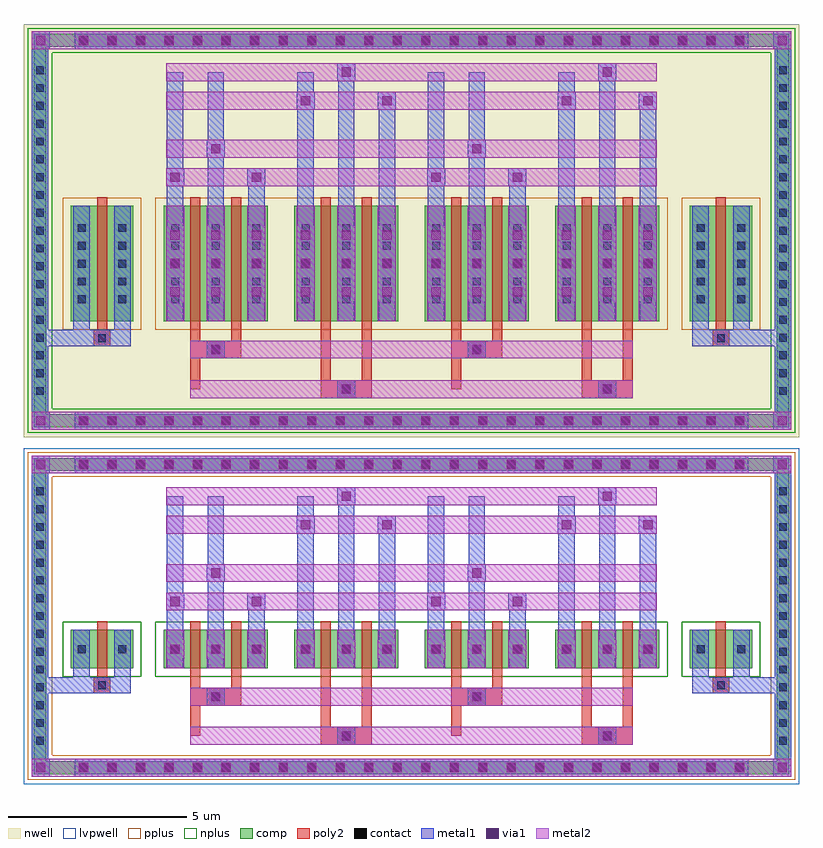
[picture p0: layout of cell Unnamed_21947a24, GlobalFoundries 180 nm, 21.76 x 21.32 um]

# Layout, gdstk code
import gdstk
lib = gdstk.Library(unit=1e-6, precision=5e-09)
def R(c, l, rs):  # rectangles x0, y0, x1, y1
    for r in rs: c.add(gdstk.rectangle(r[:2], r[2:], *l))
def A(c, l, x, y, w, h, nx, ny, dx, dy):  # array of equal rectangles
    R(c, l, [(x+i*dx, y+j*dy, x+i*dx+w, y+j*dy+h) for i in range(nx) for j in range(ny)])
def P(c, l, *ps):  # polygons
    for p in ps: c.add(gdstk.Polygon(p, *l))
nwell = (21, 0)
comp = (22, 0)
poly2 = (30, 0)
pplus = (31, 0)
nplus = (32, 0)
contact = (33, 0)
metal1 = (34, 0)
via1 = (35, 0)
metal2 = (36, 0)
lvpwell = (204, 0)

unnamed_41343e1b_1 = lib.new_cell('Unnamed_41343e1b$1')
A(unnamed_41343e1b_1, comp, -9.38, -5.515, 0.36, 0.36, 24, 2, 0.8, 10.67)
A(unnamed_41343e1b_1, comp, -10.6, -4.68, 0.36, 0.36, 1, 19, 0, 0.5)
A(unnamed_41343e1b_1, comp, 10.24, -4.68, 0.36, 0.36, 1, 19, 0, 0.5)
R(unnamed_41343e1b_1, comp, [(-9.38,-5.515,9.38,-5.155), (-10.6,-4.68,-10.24,4.68), (10.24,-4.68,10.6,4.68), (-9.38,5.155,9.38,5.515)])
P(unnamed_41343e1b_1, comp, [(-10.6,-5.515),(-10.6,-5.155),(-10.24,-5.155),(10.24,-5.155),(10.24,5.155),(-10.24,5.155),(-10.24,-5.155),(-10.6,-5.155),(-10.6,5.515),(10.6,5.515),(10.6,-5.515)])
P(unnamed_41343e1b_1, nplus, [(-10.76,-5.675),(-10.76,-4.995),(-10.08,-4.995),(10.08,-4.995),(10.08,4.995),(-10.08,4.995),(-10.08,-4.995),(-10.76,-4.995),(-10.76,5.675),(10.76,5.675),(10.76,-5.675)])
A(unnamed_41343e1b_1, contact, -9.31, -5.445, 0.22, 0.22, 24, 2, 0.8, 10.67)
A(unnamed_41343e1b_1, contact, -10.53, -4.61, 0.22, 0.22, 1, 19, 0, 0.5)
A(unnamed_41343e1b_1, contact, 10.31, -4.61, 0.22, 0.22, 1, 19, 0, 0.5)
A(unnamed_41343e1b_1, metal1, -9.45, -5.585, 0.5, 0.5, 24, 2, 0.8, 10.67)
A(unnamed_41343e1b_1, metal1, -10.65, -4.73, 0.46, 0.46, 1, 19, 0, 0.5)
A(unnamed_41343e1b_1, metal1, 10.19, -4.73, 0.46, 0.46, 1, 19, 0, 0.5)
R(unnamed_41343e1b_1, metal1, [(-10.65,-5.585,-10.15,-5.085), (-10.65,-5.585,-10.15,-5.085), (-10.65,-5.585,-10.19,-5.155), (-9.45,-5.585,9.45,-5.085), (10.15,-5.585,10.65,-5.085), (10.15,-5.585,10.65,-5.085), (10.19,-5.585,10.65,-5.155), (-10.65,-5.155,-10.19,5.155), (10.19,-5.155,10.65,5.155), (-10.65,5.085,-10.15,5.585), (-10.65,5.085,-10.15,5.585), (-9.45,5.085,9.45,5.585), (10.15,5.085,10.65,5.585), (10.15,5.085,10.65,5.585), (-10.65,5.155,-10.19,5.585), (10.19,5.155,10.65,5.585)])
A(unnamed_41343e1b_1, via1, -9.33, -5.465, 0.26, 0.26, 24, 2, 0.8, 10.67)
R(unnamed_41343e1b_1, via1, [(-10.53,-5.465,-10.27,-5.205), (10.27,-5.465,10.53,-5.205), (-10.53,5.205,-10.27,5.465), (10.27,5.205,10.53,5.465)])
A(unnamed_41343e1b_1, metal2, -9.45, -5.585, 0.5, 0.5, 24, 2, 0.8, 10.67)
R(unnamed_41343e1b_1, metal2, [(-10.65,-5.585,-10.24,-5.085), (-10.65,-5.585,-10.15,-5.085), (-10.65,-5.585,-10.15,-5.085), (-10.24,-5.585,10.24,-5.085), (10.15,-5.585,10.65,-5.085), (10.15,-5.585,10.65,-5.085), (10.24,-5.585,10.65,-5.085), (-10.65,5.085,-10.24,5.585), (-10.65,5.085,-10.15,5.585), (-10.65,5.085,-10.15,5.585), (-10.24,5.085,10.24,5.585), (10.15,5.085,10.65,5.585), (10.15,5.085,10.65,5.585), (10.24,5.085,10.65,5.585)])

straight_route_4423d41e = lib.new_cell('straight_route_4423d41e')
R(straight_route_4423d41e, metal1, [(-10.65,-3.245,-8.91,-2.785)])

straight_route_965612fa = lib.new_cell('straight_route_965612fa')
R(straight_route_965612fa, metal1, [(8.91,-3.245,10.65,-2.785)])

transformed_735538e2 = lib.new_cell('transformed_735538e2')
R(transformed_735538e2, nwell, [(-10.88,-5.795,10.88,5.795)])
A(transformed_735538e2, comp, -6.95, -2.545, 2.92, 3.24, 4, 1, 3.66, 0)
R(transformed_735538e2, comp, [(-9.55,-2.545,-7.81,0.695), (7.81,-2.545,9.55,0.695)])
R(transformed_735538e2, poly2, [(-2.54,-4.695,-1.12,-4.195), (4.78,-4.695,6.2,-4.195), (-2.01,-4.625,-1.65,-4.265), (5.31,-4.625,5.67,-4.265), (-6.2,-4.445,-5.92,-2.785), (1.12,-4.445,1.4,-2.785), (-2.54,-4.195,-2.26,-2.785), (-1.4,-4.195,-1.12,-2.785), (4.78,-4.195,5.06,-2.785), (5.92,-4.195,6.2,-2.785), (-6.2,-3.585,-4.78,-3.085), (1.12,-3.585,2.54,-3.085), (-5.67,-3.515,-5.31,-3.155), (1.65,-3.515,2.01,-3.155), (-8.91,-3.245,-8.45,-2.785), (8.45,-3.245,8.91,-2.785), (-8.86,-3.195,-8.5,-2.835), (8.5,-3.195,8.86,-2.835), (-6.2,-3.085,-5.92,-2.785), (-5.06,-3.085,-4.78,-2.785), (1.12,-3.085,1.4,-2.785), (2.26,-3.085,2.54,-2.785), (-8.82,-2.785,-8.54,0.935), (-6.2,-2.785,-5.92,0.935), (-5.06,-2.785,-4.78,0.935), (-2.54,-2.785,-2.26,0.935), (-1.4,-2.785,-1.12,0.935), (1.12,-2.785,1.4,0.935), (2.26,-2.785,2.54,0.935), (4.78,-2.785,5.06,0.935), (5.92,-2.785,6.2,0.935), (8.54,-2.785,8.82,0.935)])
A(transformed_735538e2, pplus, -7.18, -2.775, 3.38, 3.7, 4, 1, 3.66, 0)
R(transformed_735538e2, pplus, [(-9.78,-2.775,-7.58,0.925), (-7.18,-2.775,7.18,0.925), (7.58,-2.775,9.78,0.925)])
A(transformed_735538e2, contact, -9.36, -2.035, 0.22, 0.22, 1, 5, 0, 0.5)
A(transformed_735538e2, contact, -8.22, -2.035, 0.22, 0.22, 1, 5, 0, 0.5)
A(transformed_735538e2, contact, -6.74, -2.035, 0.22, 0.22, 3, 5, 1.14, 0.5)
A(transformed_735538e2, contact, -3.08, -2.035, 0.22, 0.22, 3, 5, 1.14, 0.5)
A(transformed_735538e2, contact, 0.58, -2.035, 0.22, 0.22, 3, 5, 1.14, 0.5)
A(transformed_735538e2, contact, 4.24, -2.035, 0.22, 0.22, 3, 5, 1.14, 0.5)
A(transformed_735538e2, contact, 8, -2.035, 0.22, 0.22, 1, 5, 0, 0.5)
A(transformed_735538e2, contact, 9.14, -2.035, 0.22, 0.22, 1, 5, 0, 0.5)
R(transformed_735538e2, contact, [(-1.94,-4.555,-1.72,-4.335), (5.38,-4.555,5.6,-4.335), (-5.6,-3.445,-5.38,-3.225), (1.72,-3.445,1.94,-3.225), (-8.79,-3.125,-8.57,-2.905), (8.57,-3.125,8.79,-2.905)])
A(transformed_735538e2, metal1, -6.86, -2.545, 0.46, 3.24, 3, 1, 1.14, 0)
A(transformed_735538e2, metal1, -3.2, -2.545, 0.46, 3.24, 3, 1, 1.14, 0)
A(transformed_735538e2, metal1, 0.46, -2.545, 0.46, 3.24, 3, 1, 1.14, 0)
A(transformed_735538e2, metal1, 4.12, -2.545, 0.46, 3.24, 3, 1, 1.14, 0)
A(transformed_735538e2, metal1, -9.48, -2.155, 0.46, 0.46, 1, 5, 0, 0.5)
A(transformed_735538e2, metal1, -8.34, -2.155, 0.46, 0.46, 1, 5, 0, 0.5)
A(transformed_735538e2, metal1, -6.86, -2.155, 0.46, 0.46, 3, 5, 1.14, 0.5)
A(transformed_735538e2, metal1, -3.2, -2.155, 0.46, 0.46, 3, 5, 1.14, 0.5)
A(transformed_735538e2, metal1, 0.46, -2.155, 0.46, 0.46, 3, 5, 1.14, 0.5)
A(transformed_735538e2, metal1, 4.12, -2.155, 0.46, 0.46, 3, 5, 1.14, 0.5)
A(transformed_735538e2, metal1, 7.88, -2.155, 0.46, 0.46, 1, 5, 0, 0.5)
A(transformed_735538e2, metal1, 9.02, -2.155, 0.46, 0.46, 1, 5, 0, 0.5)
A(transformed_735538e2, metal1, -6.88, -1.975, 0.5, 0.5, 3, 3, 1.14, 0.8)
A(transformed_735538e2, metal1, -6.88, -1.975, 0.5, 2.1, 3, 1, 1.14, 0)
A(transformed_735538e2, metal1, -3.22, -1.975, 0.5, 0.5, 3, 3, 1.14, 0.8)
A(transformed_735538e2, metal1, -3.22, -1.975, 0.5, 2.1, 3, 1, 1.14, 0)
A(transformed_735538e2, metal1, 0.44, -1.975, 0.5, 0.5, 3, 3, 1.14, 0.8)
A(transformed_735538e2, metal1, 0.44, -1.975, 0.5, 2.1, 3, 1, 1.14, 0)
A(transformed_735538e2, metal1, 4.1, -1.975, 0.5, 0.5, 3, 3, 1.14, 0.8)
A(transformed_735538e2, metal1, 4.1, -1.975, 0.5, 2.1, 3, 1, 1.14, 0)
R(transformed_735538e2, metal1, [(-2.08,-4.695,-1.58,-4.195), (5.24,-4.695,5.74,-4.195), (-5.74,-3.585,-5.24,-3.085), (1.58,-3.585,2.08,-3.085), (-9.48,-3.245,-8.91,-2.785), (-9.48,-3.245,-9.02,-2.545), (-8.91,-3.245,-8.45,-2.785), (-8.45,-3.245,-7.88,-2.785), (-8.34,-3.245,-7.88,-2.545), (7.88,-3.245,8.45,-2.785), (7.88,-3.245,8.34,-2.545), (8.45,-3.245,8.91,-2.785), (8.91,-3.245,9.48,-2.785), (9.02,-3.245,9.48,-2.545), (-9.48,-2.545,-9.02,0.695), (-8.34,-2.545,-7.88,0.695), (7.88,-2.545,8.34,0.695), (9.02,-2.545,9.48,0.695), (-6.86,0.695,-6.4,1.745), (-6.86,0.695,-6.4,4.445), (-5.72,0.695,-5.26,2.545), (-5.72,0.695,-5.26,4.445), (-4.58,0.695,-4.12,1.745), (-3.2,0.695,-2.74,3.895), (-3.2,0.695,-2.74,4.445), (-2.06,0.695,-1.6,4.695), (-2.06,0.695,-1.6,4.445), (-0.92,0.695,-0.46,3.895), (0.46,0.695,0.92,1.745), (0.46,0.695,0.92,4.445), (1.6,0.695,2.06,2.545), (1.6,0.695,2.06,4.445), (2.74,0.695,3.2,1.745), (4.12,0.695,4.58,3.895), (4.12,0.695,4.58,4.445), (5.26,0.695,5.72,4.695), (5.26,0.695,5.72,4.445), (6.4,0.695,6.86,3.895), (-6.88,1.245,-6.38,1.745), (-4.6,1.245,-4.1,1.745), (0.44,1.245,0.94,1.745), (2.72,1.245,3.22,1.745), (-5.74,2.045,-5.24,2.545), (1.58,2.045,2.08,2.545), (-3.22,3.395,-2.72,3.895), (-0.94,3.395,-0.44,3.895), (4.1,3.395,4.6,3.895), (6.38,3.395,6.88,3.895), (-2.08,4.195,-1.58,4.695), (5.24,4.195,5.74,4.695)])
A(transformed_735538e2, via1, -6.76, -1.855, 0.26, 0.26, 3, 3, 1.14, 0.8)
A(transformed_735538e2, via1, -3.1, -1.855, 0.26, 0.26, 3, 3, 1.14, 0.8)
A(transformed_735538e2, via1, 0.56, -1.855, 0.26, 0.26, 3, 3, 1.14, 0.8)
A(transformed_735538e2, via1, 4.22, -1.855, 0.26, 0.26, 3, 3, 1.14, 0.8)
R(transformed_735538e2, via1, [(-1.96,-4.575,-1.7,-4.315), (5.36,-4.575,5.62,-4.315), (-5.62,-3.465,-5.36,-3.205), (1.7,-3.465,1.96,-3.205), (-6.76,1.365,-6.5,1.625), (-4.48,1.365,-4.22,1.625), (0.56,1.365,0.82,1.625), (2.84,1.365,3.1,1.625), (-5.62,2.165,-5.36,2.425), (1.7,2.165,1.96,2.425), (-3.1,3.515,-2.84,3.775), (-0.82,3.515,-0.56,3.775), (4.22,3.515,4.48,3.775), (6.5,3.515,6.76,3.775), (-1.96,4.315,-1.7,4.575), (5.36,4.315,5.62,4.575)])
A(transformed_735538e2, metal2, -6.88, -2.545, 0.5, 3.24, 3, 1, 1.14, 0)
A(transformed_735538e2, metal2, -3.22, -2.545, 0.5, 3.24, 3, 1, 1.14, 0)
A(transformed_735538e2, metal2, 0.44, -2.545, 0.5, 3.24, 3, 1, 1.14, 0)
A(transformed_735538e2, metal2, 4.1, -2.545, 0.5, 3.24, 3, 1, 1.14, 0)
A(transformed_735538e2, metal2, -6.88, -1.975, 0.5, 0.5, 3, 3, 1.14, 0.8)
A(transformed_735538e2, metal2, -3.22, -1.975, 0.5, 0.5, 3, 3, 1.14, 0.8)
A(transformed_735538e2, metal2, 0.44, -1.975, 0.5, 0.5, 3, 3, 1.14, 0.8)
A(transformed_735538e2, metal2, 4.1, -1.975, 0.5, 0.5, 3, 3, 1.14, 0.8)
R(transformed_735538e2, metal2, [(-6.2,-4.695,6.2,-4.195), (-2.54,-4.695,-1.12,-4.195), (-2.08,-4.695,-1.58,-4.195), (4.78,-4.695,6.2,-4.195), (5.24,-4.695,5.74,-4.195), (-6.2,-3.585,-4.78,-3.085), (-6.2,-3.585,6.2,-3.085), (-5.74,-3.585,-5.24,-3.085), (1.12,-3.585,2.54,-3.085), (1.58,-3.585,2.08,-3.085), (-6.88,1.245,-6.38,1.745), (-6.88,1.245,-4.1,1.745), (-6.88,1.245,6.88,1.745), (-4.6,1.245,-4.1,1.745), (0.44,1.245,0.94,1.745), (0.44,1.245,3.22,1.745), (2.72,1.245,3.22,1.745), (-6.88,2.045,-4.1,2.545), (-6.88,2.045,6.88,2.545), (-5.74,2.045,-5.24,2.545), (0.44,2.045,3.22,2.545), (1.58,2.045,2.08,2.545), (-6.88,3.395,6.88,3.895), (-3.22,3.395,-2.72,3.895), (-3.22,3.395,-0.44,3.895), (-0.94,3.395,-0.44,3.895), (4.1,3.395,4.6,3.895), (4.1,3.395,6.88,3.895), (6.38,3.395,6.88,3.895), (-6.88,4.195,6.88,4.695), (-3.22,4.195,-0.44,4.695), (-2.08,4.195,-1.58,4.695), (4.1,4.195,6.88,4.695), (5.24,4.195,5.74,4.695)])
transformed_735538e2.add(gdstk.Reference(unnamed_41343e1b_1, (0,0)))
transformed_735538e2.add(gdstk.Reference(straight_route_4423d41e, (0,0)))
transformed_735538e2.add(gdstk.Reference(straight_route_965612fa, (0,0)))

unnamed_3a2871f5_1 = lib.new_cell('Unnamed_3a2871f5$1')
A(unnamed_3a2871f5_1, comp, -9.38, -4.43, 0.36, 0.36, 24, 2, 0.8, 8.5)
A(unnamed_3a2871f5_1, comp, -10.6, -3.68, 0.36, 0.36, 1, 15, 0, 0.5)
A(unnamed_3a2871f5_1, comp, 10.24, -3.68, 0.36, 0.36, 1, 15, 0, 0.5)
R(unnamed_3a2871f5_1, comp, [(-9.38,-4.43,9.38,-4.07), (-10.6,-3.68,-10.24,3.68), (10.24,-3.68,10.6,3.68), (-9.38,4.07,9.38,4.43)])
P(unnamed_3a2871f5_1, comp, [(-10.6,-4.43),(-10.6,-4.07),(-10.24,-4.07),(10.24,-4.07),(10.24,4.07),(-10.24,4.07),(-10.24,-4.07),(-10.6,-4.07),(-10.6,4.43),(10.6,4.43),(10.6,-4.43)])
P(unnamed_3a2871f5_1, pplus, [(-10.76,-4.59),(-10.76,-3.91),(-10.08,-3.91),(10.08,-3.91),(10.08,3.91),(-10.08,3.91),(-10.08,-3.91),(-10.76,-3.91),(-10.76,4.59),(10.76,4.59),(10.76,-4.59)])
A(unnamed_3a2871f5_1, contact, -9.31, -4.36, 0.22, 0.22, 24, 2, 0.8, 8.5)
A(unnamed_3a2871f5_1, contact, -10.53, -3.61, 0.22, 0.22, 1, 15, 0, 0.5)
A(unnamed_3a2871f5_1, contact, 10.31, -3.61, 0.22, 0.22, 1, 15, 0, 0.5)
A(unnamed_3a2871f5_1, metal1, -9.45, -4.5, 0.5, 0.5, 24, 2, 0.8, 8.5)
A(unnamed_3a2871f5_1, metal1, -10.65, -3.73, 0.46, 0.46, 1, 15, 0, 0.5)
A(unnamed_3a2871f5_1, metal1, 10.19, -3.73, 0.46, 0.46, 1, 15, 0, 0.5)
R(unnamed_3a2871f5_1, metal1, [(-10.65,-4.5,-10.15,-4), (-10.65,-4.5,-10.15,-4), (-10.65,-4.5,-10.19,-4.07), (-9.45,-4.5,9.45,-4), (10.15,-4.5,10.65,-4), (10.15,-4.5,10.65,-4), (10.19,-4.5,10.65,-4.07), (-10.65,-4.07,-10.19,4.07), (10.19,-4.07,10.65,4.07), (-10.65,4,-10.15,4.5), (-10.65,4,-10.15,4.5), (-9.45,4,9.45,4.5), (10.15,4,10.65,4.5), (10.15,4,10.65,4.5), (-10.65,4.07,-10.19,4.5), (10.19,4.07,10.65,4.5)])
A(unnamed_3a2871f5_1, via1, -9.33, -4.38, 0.26, 0.26, 24, 2, 0.8, 8.5)
R(unnamed_3a2871f5_1, via1, [(-10.53,-4.38,-10.27,-4.12), (10.27,-4.38,10.53,-4.12), (-10.53,4.12,-10.27,4.38), (10.27,4.12,10.53,4.38)])
A(unnamed_3a2871f5_1, metal2, -9.45, -4.5, 0.5, 0.5, 24, 2, 0.8, 8.5)
R(unnamed_3a2871f5_1, metal2, [(-10.65,-4.5,-10.24,-4), (-10.65,-4.5,-10.15,-4), (-10.65,-4.5,-10.15,-4), (-10.24,-4.5,10.24,-4), (10.15,-4.5,10.65,-4), (10.15,-4.5,10.65,-4), (10.24,-4.5,10.65,-4), (-10.65,4,-10.24,4.5), (-10.65,4,-10.15,4.5), (-10.65,4,-10.15,4.5), (-10.24,4,10.24,4.5), (10.15,4,10.65,4.5), (10.15,4,10.65,4.5), (10.24,4,10.65,4.5)])

straight_route_ea650567 = lib.new_cell('straight_route_ea650567')
R(straight_route_ea650567, metal1, [(-10.65,-2.17,-8.91,-1.71)])

straight_route_7bf126a9 = lib.new_cell('straight_route_7bf126a9')
R(straight_route_7bf126a9, metal1, [(8.91,-2.17,10.65,-1.71)])

transformed_1574e1ed = lib.new_cell('transformed_1574e1ed')
A(transformed_1574e1ed, comp, -6.95, -1.47, 2.92, 1.08, 4, 1, 3.66, 0)
R(transformed_1574e1ed, comp, [(-9.55,-1.47,-7.81,-0.39), (7.81,-1.47,9.55,-0.39)])
R(transformed_1574e1ed, poly2, [(-2.54,-3.61,-1.12,-3.11), (4.78,-3.61,6.2,-3.11), (-2.01,-3.54,-1.65,-3.18), (5.31,-3.54,5.67,-3.18), (-6.2,-3.36,-5.92,-1.71), (1.12,-3.36,1.4,-1.71), (-2.54,-3.11,-2.26,-1.71), (-1.4,-3.11,-1.12,-1.71), (4.78,-3.11,5.06,-1.71), (5.92,-3.11,6.2,-1.71), (-6.2,-2.51,-4.78,-2.01), (1.12,-2.51,2.54,-2.01), (-5.67,-2.44,-5.31,-2.08), (1.65,-2.44,2.01,-2.08), (-8.91,-2.17,-8.45,-1.71), (8.45,-2.17,8.91,-1.71), (-8.86,-2.12,-8.5,-1.76), (8.5,-2.12,8.86,-1.76), (-6.2,-2.01,-5.92,-1.71), (-5.06,-2.01,-4.78,-1.71), (1.12,-2.01,1.4,-1.71), (2.26,-2.01,2.54,-1.71), (-8.82,-1.71,-8.54,-0.15), (-6.2,-1.71,-5.92,-0.15), (-5.06,-1.71,-4.78,-0.15), (-2.54,-1.71,-2.26,-0.15), (-1.4,-1.71,-1.12,-0.15), (1.12,-1.71,1.4,-0.15), (2.26,-1.71,2.54,-0.15), (4.78,-1.71,5.06,-0.15), (5.92,-1.71,6.2,-0.15), (8.54,-1.71,8.82,-0.15)])
A(transformed_1574e1ed, nplus, -7.18, -1.7, 3.38, 1.54, 4, 1, 3.66, 0)
R(transformed_1574e1ed, nplus, [(-9.78,-1.7,-7.58,-0.16), (-7.18,-1.7,7.18,-0.16), (7.58,-1.7,9.78,-0.16)])
A(transformed_1574e1ed, contact, -6.74, -1.04, 0.22, 0.22, 3, 1, 1.14, 0)
A(transformed_1574e1ed, contact, -3.08, -1.04, 0.22, 0.22, 3, 1, 1.14, 0)
A(transformed_1574e1ed, contact, 0.58, -1.04, 0.22, 0.22, 3, 1, 1.14, 0)
A(transformed_1574e1ed, contact, 4.24, -1.04, 0.22, 0.22, 3, 1, 1.14, 0)
R(transformed_1574e1ed, contact, [(-1.94,-3.47,-1.72,-3.25), (5.38,-3.47,5.6,-3.25), (-5.6,-2.37,-5.38,-2.15), (1.72,-2.37,1.94,-2.15), (-8.79,-2.05,-8.57,-1.83), (8.57,-2.05,8.79,-1.83), (-9.36,-1.04,-9.14,-0.82), (-8.22,-1.04,-8,-0.82), (8,-1.04,8.22,-0.82), (9.14,-1.04,9.36,-0.82)])
A(transformed_1574e1ed, metal1, -6.86, -1.47, 0.46, 1.08, 3, 1, 1.14, 0)
A(transformed_1574e1ed, metal1, -3.2, -1.47, 0.46, 1.08, 3, 1, 1.14, 0)
A(transformed_1574e1ed, metal1, 0.46, -1.47, 0.46, 1.08, 3, 1, 1.14, 0)
A(transformed_1574e1ed, metal1, 4.12, -1.47, 0.46, 1.08, 3, 1, 1.14, 0)
A(transformed_1574e1ed, metal1, -6.86, -1.16, 0.46, 0.46, 3, 1, 1.14, 0)
A(transformed_1574e1ed, metal1, -3.2, -1.16, 0.46, 0.46, 3, 1, 1.14, 0)
A(transformed_1574e1ed, metal1, 0.46, -1.16, 0.46, 0.46, 3, 1, 1.14, 0)
A(transformed_1574e1ed, metal1, 4.12, -1.16, 0.46, 0.46, 3, 1, 1.14, 0)
R(transformed_1574e1ed, metal1, [(-2.08,-3.61,-1.58,-3.11), (5.24,-3.61,5.74,-3.11), (-5.74,-2.51,-5.24,-2.01), (1.58,-2.51,2.08,-2.01), (-9.48,-2.17,-8.91,-1.71), (-9.48,-2.17,-9.02,-1.47), (-8.91,-2.17,-8.45,-1.71), (-8.45,-2.17,-7.88,-1.71), (-8.34,-2.17,-7.88,-1.47), (7.88,-2.17,8.45,-1.71), (7.88,-2.17,8.34,-1.47), (8.45,-2.17,8.91,-1.71), (8.91,-2.17,9.48,-1.71), (9.02,-2.17,9.48,-1.47), (-9.48,-1.47,-9.02,-0.39), (-8.34,-1.47,-7.88,-0.39), (7.88,-1.47,8.34,-0.39), (9.02,-1.47,9.48,-0.39), (-6.88,-1.18,-6.38,-0.68), (-6.88,-1.18,-6.38,-0.68), (-5.74,-1.18,-5.24,-0.68), (-5.74,-1.18,-5.24,-0.68), (-4.6,-1.18,-4.1,-0.68), (-4.6,-1.18,-4.1,-0.68), (-3.22,-1.18,-2.72,-0.68), (-3.22,-1.18,-2.72,-0.68), (-2.08,-1.18,-1.58,-0.68), (-2.08,-1.18,-1.58,-0.68), (-0.94,-1.18,-0.44,-0.68), (-0.94,-1.18,-0.44,-0.68), (0.44,-1.18,0.94,-0.68), (0.44,-1.18,0.94,-0.68), (1.58,-1.18,2.08,-0.68), (1.58,-1.18,2.08,-0.68), (2.72,-1.18,3.22,-0.68), (2.72,-1.18,3.22,-0.68), (4.1,-1.18,4.6,-0.68), (4.1,-1.18,4.6,-0.68), (5.24,-1.18,5.74,-0.68), (5.24,-1.18,5.74,-0.68), (6.38,-1.18,6.88,-0.68), (6.38,-1.18,6.88,-0.68), (-9.48,-1.16,-9.02,-0.7), (-8.34,-1.16,-7.88,-0.7), (7.88,-1.16,8.34,-0.7), (9.02,-1.16,9.48,-0.7), (-6.86,-0.39,-6.4,0.66), (-6.86,-0.39,-6.4,3.36), (-5.72,-0.39,-5.26,1.46), (-5.72,-0.39,-5.26,3.36), (-4.58,-0.39,-4.12,0.66), (-3.2,-0.39,-2.74,2.81), (-3.2,-0.39,-2.74,3.36), (-2.06,-0.39,-1.6,3.61), (-2.06,-0.39,-1.6,3.36), (-0.92,-0.39,-0.46,2.81), (0.46,-0.39,0.92,0.66), (0.46,-0.39,0.92,3.36), (1.6,-0.39,2.06,1.46), (1.6,-0.39,2.06,3.36), (2.74,-0.39,3.2,0.66), (4.12,-0.39,4.58,2.81), (4.12,-0.39,4.58,3.36), (5.26,-0.39,5.72,3.61), (5.26,-0.39,5.72,3.36), (6.4,-0.39,6.86,2.81), (-6.88,0.16,-6.38,0.66), (-4.6,0.16,-4.1,0.66), (0.44,0.16,0.94,0.66), (2.72,0.16,3.22,0.66), (-5.74,0.96,-5.24,1.46), (1.58,0.96,2.08,1.46), (-3.22,2.31,-2.72,2.81), (-0.94,2.31,-0.44,2.81), (4.1,2.31,4.6,2.81), (6.38,2.31,6.88,2.81), (-2.08,3.11,-1.58,3.61), (5.24,3.11,5.74,3.61)])
A(transformed_1574e1ed, via1, -6.76, -1.06, 0.26, 0.26, 3, 1, 1.14, 0)
A(transformed_1574e1ed, via1, -3.1, -1.06, 0.26, 0.26, 3, 1, 1.14, 0)
A(transformed_1574e1ed, via1, 0.56, -1.06, 0.26, 0.26, 3, 1, 1.14, 0)
A(transformed_1574e1ed, via1, 4.22, -1.06, 0.26, 0.26, 3, 1, 1.14, 0)
R(transformed_1574e1ed, via1, [(-1.96,-3.49,-1.7,-3.23), (5.36,-3.49,5.62,-3.23), (-5.62,-2.39,-5.36,-2.13), (1.7,-2.39,1.96,-2.13), (-6.76,0.28,-6.5,0.54), (-4.48,0.28,-4.22,0.54), (0.56,0.28,0.82,0.54), (2.84,0.28,3.1,0.54), (-5.62,1.08,-5.36,1.34), (1.7,1.08,1.96,1.34), (-3.1,2.43,-2.84,2.69), (-0.82,2.43,-0.56,2.69), (4.22,2.43,4.48,2.69), (6.5,2.43,6.76,2.69), (-1.96,3.23,-1.7,3.49), (5.36,3.23,5.62,3.49)])
A(transformed_1574e1ed, metal2, -6.88, -1.47, 0.5, 1.08, 3, 1, 1.14, 0)
A(transformed_1574e1ed, metal2, -3.22, -1.47, 0.5, 1.08, 3, 1, 1.14, 0)
A(transformed_1574e1ed, metal2, 0.44, -1.47, 0.5, 1.08, 3, 1, 1.14, 0)
A(transformed_1574e1ed, metal2, 4.1, -1.47, 0.5, 1.08, 3, 1, 1.14, 0)
A(transformed_1574e1ed, metal2, -6.88, -1.18, 0.5, 0.5, 3, 1, 1.14, 0)
A(transformed_1574e1ed, metal2, -3.22, -1.18, 0.5, 0.5, 3, 1, 1.14, 0)
A(transformed_1574e1ed, metal2, 0.44, -1.18, 0.5, 0.5, 3, 1, 1.14, 0)
A(transformed_1574e1ed, metal2, 4.1, -1.18, 0.5, 0.5, 3, 1, 1.14, 0)
R(transformed_1574e1ed, metal2, [(-6.2,-3.61,6.2,-3.11), (-2.54,-3.61,-1.12,-3.11), (-2.08,-3.61,-1.58,-3.11), (4.78,-3.61,6.2,-3.11), (5.24,-3.61,5.74,-3.11), (-6.2,-2.51,-4.78,-2.01), (-6.2,-2.51,6.2,-2.01), (-5.74,-2.51,-5.24,-2.01), (1.12,-2.51,2.54,-2.01), (1.58,-2.51,2.08,-2.01), (-6.88,0.16,-6.38,0.66), (-6.88,0.16,-4.1,0.66), (-6.88,0.16,6.88,0.66), (-4.6,0.16,-4.1,0.66), (0.44,0.16,0.94,0.66), (0.44,0.16,3.22,0.66), (2.72,0.16,3.22,0.66), (-6.88,0.96,-4.1,1.46), (-6.88,0.96,6.88,1.46), (-5.74,0.96,-5.24,1.46), (0.44,0.96,3.22,1.46), (1.58,0.96,2.08,1.46), (-6.88,2.31,6.88,2.81), (-3.22,2.31,-2.72,2.81), (-3.22,2.31,-0.44,2.81), (-0.94,2.31,-0.44,2.81), (4.1,2.31,4.6,2.81), (4.1,2.31,6.88,2.81), (6.38,2.31,6.88,2.81), (-6.88,3.11,6.88,3.61), (-3.22,3.11,-0.44,3.61), (-2.08,3.11,-1.58,3.61), (4.1,3.11,6.88,3.61), (5.24,3.11,5.74,3.61)])
R(transformed_1574e1ed, lvpwell, [(-10.88,-4.71,10.88,4.71)])
transformed_1574e1ed.add(gdstk.Reference(unnamed_3a2871f5_1, (0,0)))
transformed_1574e1ed.add(gdstk.Reference(straight_route_ea650567, (0,0)))
transformed_1574e1ed.add(gdstk.Reference(straight_route_7bf126a9, (0,0)))

unnamed_21947a24 = lib.new_cell('Unnamed_21947a24')
unnamed_21947a24.add(gdstk.Reference(transformed_735538e2, (0,10.81)))
unnamed_21947a24.add(gdstk.Reference(transformed_1574e1ed, (0,0)))

lib.write_gds('Unnamed_21947a24.gds')
